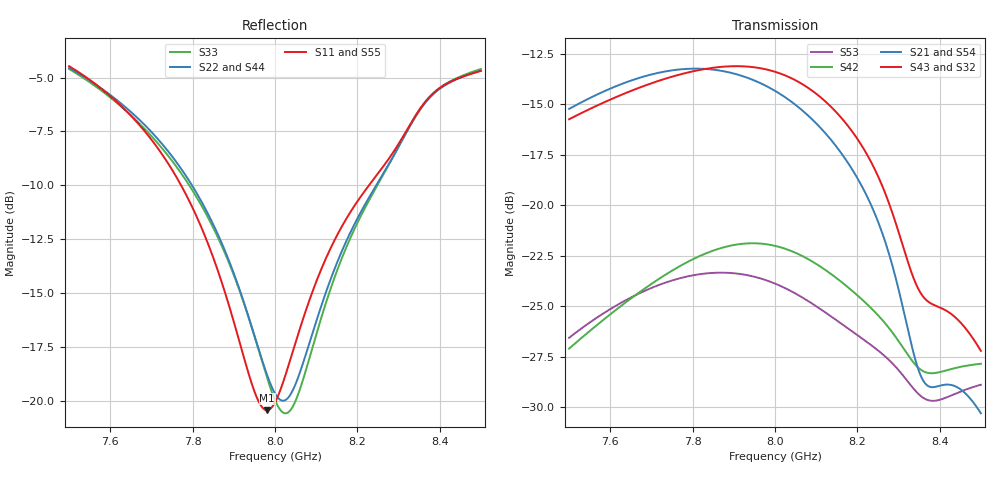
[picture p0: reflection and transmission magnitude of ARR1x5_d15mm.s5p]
! Touchstone file exported from HFSS 2025.1.0
!  File:  C:/Users/user/Documents/Ansoft/TFG_UWB-MIMO-Array.aedt
!  Generated:  02:04:19 PM Nov 20, 2026
!  Design:  ARR1x5_US3_PS6_dparam
!  Project:  TFG_UWB-MIMO-Array
!  Setup:  Setup_ch9
!  Solution:  Sweep_7p5_8p5
! Variables:
!  arr_d = 15mm
!  board_m = 13mm
!  board_x = 86mm
!  board_y = 26mm
!  cu_t = 0.035mm
!  line_w = 3.92mm
!  pad_xy = 22mm
!  pad_zn = 25mm
!  pad_zp = 33mm
!  par_L = 7.05mm
!  par_W = 11mm
!  par_yc = 0.615mm
!  par_z = 1.035mm
!  patch_L = 6.29mm
!  patch_W = 11.421266mm
!  sub_h = 2.07mm
!  tr_l = 6.6mm
!  tr_w = 0.8mm
!  u_Lu = 2.65mm
!  u_Wu = 4.4mm
!  u_t = 0.8mm
!  u_y0 = -0.7mm
# GHz S MA R 50.000000
! Terminal data exported
! Port[1] = P1
! Port[2] = P2
! Port[3] = P3
! Port[4] = P4
! Port[5] = P5
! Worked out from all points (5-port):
!   1001 points, 7.5 GHz to 8.5 GHz, reference 50 ohm
!   strongest paths, dB at 7.5 GHz, 7.75 GHz, 8 GHz, 8.25 GHz, 8.5 GHz:
!     S43: -15.7, -13.6, -13.4, -18.5, -27.2
!     S32: -15.8, -13.7, -13.4, -18.6, -27.3
!     S21: -15.2, -13.3, -14.3, -20.8, -30.3
!     S54: -15.2, -13.3, -14.3, -20.9, -30.4
!     S42: -27.1, -23.2, -22.0, -25.4, -27.8
!     S53: -26.6, -23.7, -23.9, -27.2, -28.9
!   lowest |S11| = -20.4 dB at 7.981 GHz (marker M1), VSWR 1.21, Z = 60.2 - j2.29 ohm
!   |S11| at or under -10 dB: 7.772 GHz to 8.228 GHz (456 MHz wide, 5.7 % of centre)
